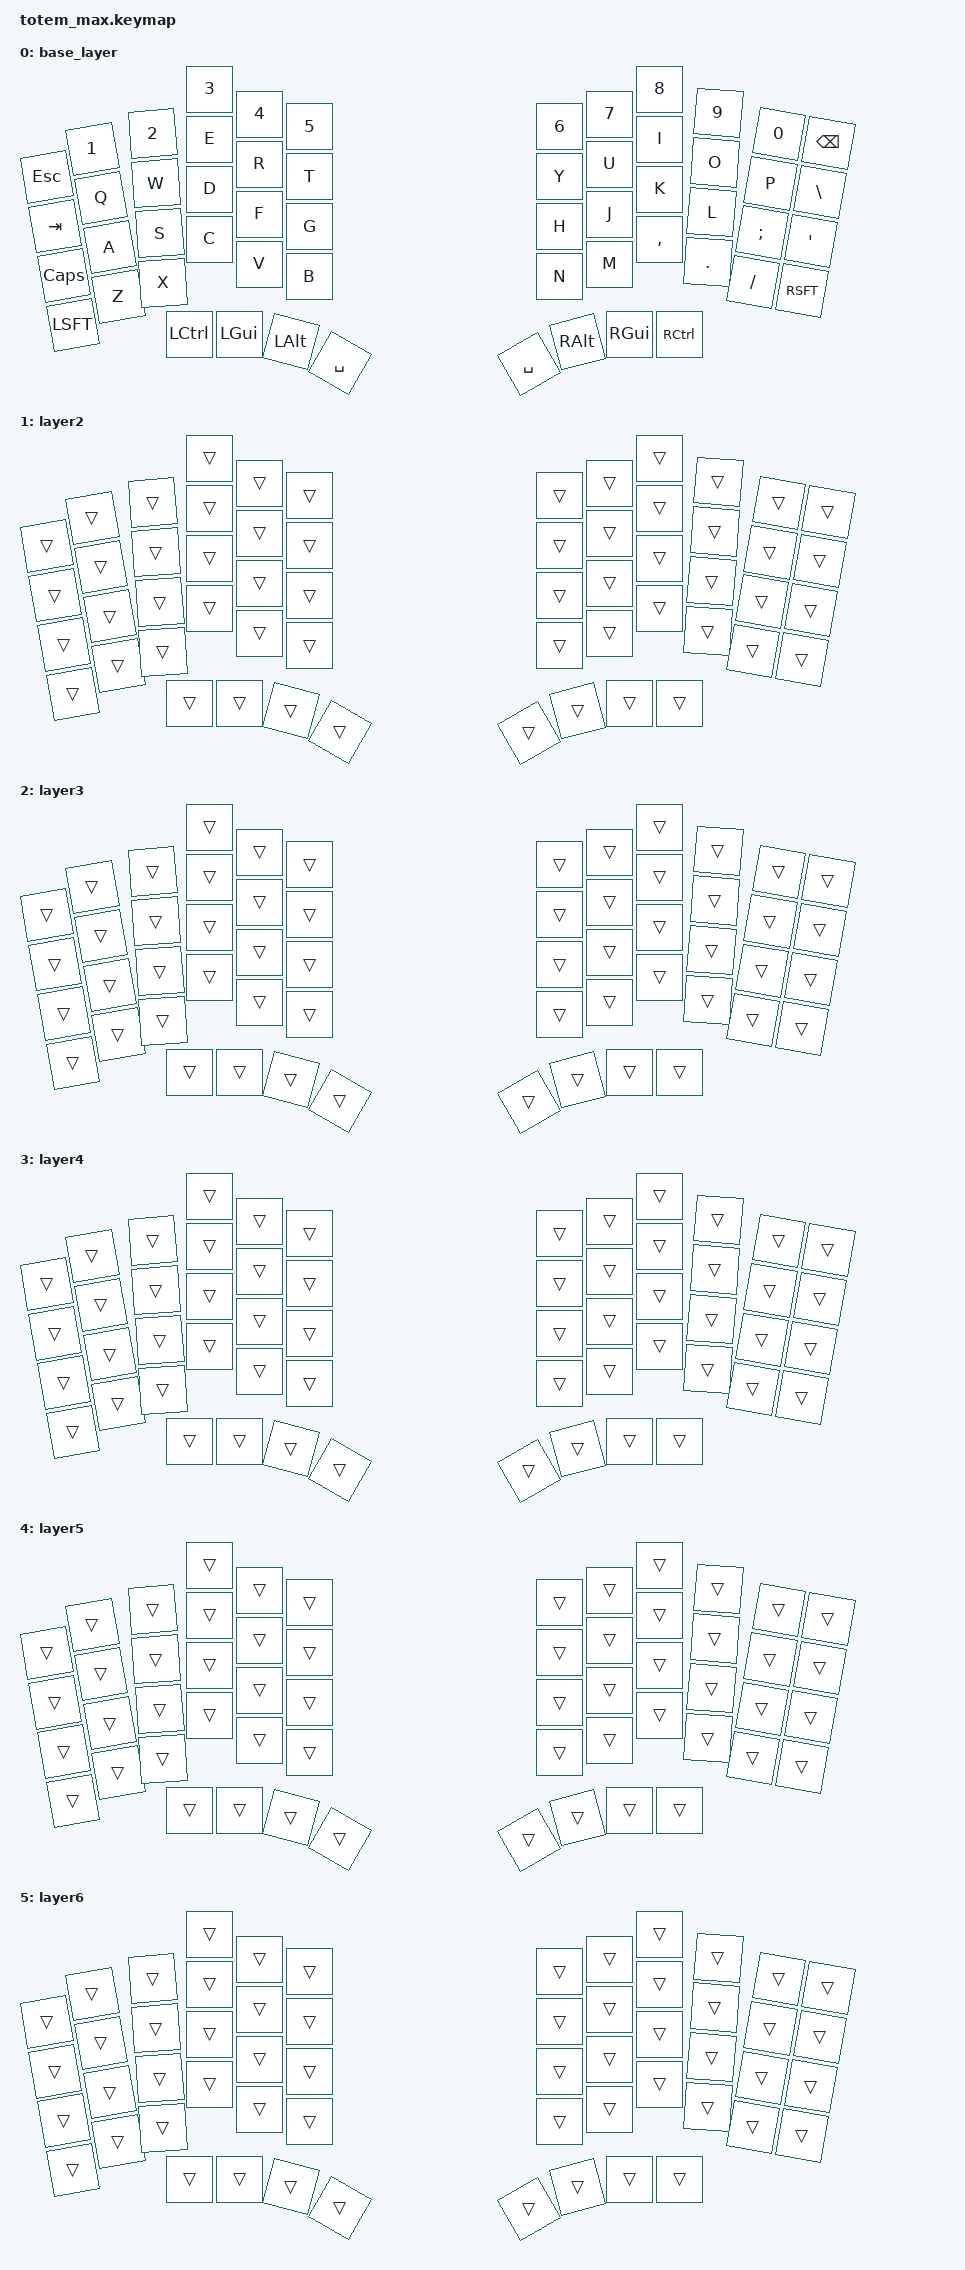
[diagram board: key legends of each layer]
#include <behaviors.dtsi>
#include <dt-bindings/zmk/keys.h>

/ {
    keymap {
        compatible = "zmk,keymap";

        base_layer {
            display-name = "base_layer";
            bindings = <
                &kp ESC   &kp N1   &kp N2   &kp N3    &kp N4   &kp N5     &kp N6   &kp N7   &kp N8    &kp N9   &kp N0    &kp BSPC
                &kp TAB   &kp Q    &kp W    &kp E     &kp R    &kp T      &kp Y    &kp U    &kp I     &kp O    &kp P     &kp BSLH
                &kp CAPS  &kp A    &kp S    &kp D     &kp F    &kp G      &kp H    &kp J    &kp K     &kp L    &kp SEMI  &kp QUOT
                &kp LSFT  &kp Z    &kp X    &kp C     &kp V    &kp B      &kp N    &kp M    &kp COMMA &kp DOT  &kp FSLH  &kp RSFT
                           &kp LCTL &kp LGUI &kp LALT  &kp SPC             &kp SPC  &kp RALT &kp RGUI  &kp RCTL
            >;
        };

        layer2 {
            display-name = "layer2";
            bindings = <
                &trans &trans &trans &trans &trans &trans   &trans &trans &trans &trans &trans &trans
                &trans &trans &trans &trans &trans &trans   &trans &trans &trans &trans &trans &trans
                &trans &trans &trans &trans &trans &trans   &trans &trans &trans &trans &trans &trans
                &trans &trans &trans &trans &trans &trans   &trans &trans &trans &trans &trans &trans
                       &trans &trans &trans &trans           &trans &trans &trans &trans
            >;
        };

        layer3 {
            display-name = "layer3";
            bindings = <
                &trans &trans &trans &trans &trans &trans   &trans &trans &trans &trans &trans &trans
                &trans &trans &trans &trans &trans &trans   &trans &trans &trans &trans &trans &trans
                &trans &trans &trans &trans &trans &trans   &trans &trans &trans &trans &trans &trans
                &trans &trans &trans &trans &trans &trans   &trans &trans &trans &trans &trans &trans
                       &trans &trans &trans &trans           &trans &trans &trans &trans
            >;
        };

        layer4 {
            display-name = "layer4";
            bindings = <
                &trans &trans &trans &trans &trans &trans   &trans &trans &trans &trans &trans &trans
                &trans &trans &trans &trans &trans &trans   &trans &trans &trans &trans &trans &trans
                &trans &trans &trans &trans &trans &trans   &trans &trans &trans &trans &trans &trans
                &trans &trans &trans &trans &trans &trans   &trans &trans &trans &trans &trans &trans
                       &trans &trans &trans &trans           &trans &trans &trans &trans
            >;
        };

        layer5 {
            display-name = "layer5";
            bindings = <
                &trans &trans &trans &trans &trans &trans   &trans &trans &trans &trans &trans &trans
                &trans &trans &trans &trans &trans &trans   &trans &trans &trans &trans &trans &trans
                &trans &trans &trans &trans &trans &trans   &trans &trans &trans &trans &trans &trans
                &trans &trans &trans &trans &trans &trans   &trans &trans &trans &trans &trans &trans
                       &trans &trans &trans &trans           &trans &trans &trans &trans
            >;
        };

        layer6 {
            display-name = "layer6";
            bindings = <
                &trans &trans &trans &trans &trans &trans   &trans &trans &trans &trans &trans &trans
                &trans &trans &trans &trans &trans &trans   &trans &trans &trans &trans &trans &trans
                &trans &trans &trans &trans &trans &trans   &trans &trans &trans &trans &trans &trans
                &trans &trans &trans &trans &trans &trans   &trans &trans &trans &trans &trans &trans
                       &trans &trans &trans &trans           &trans &trans &trans &trans
            >;
        };
    };
};
